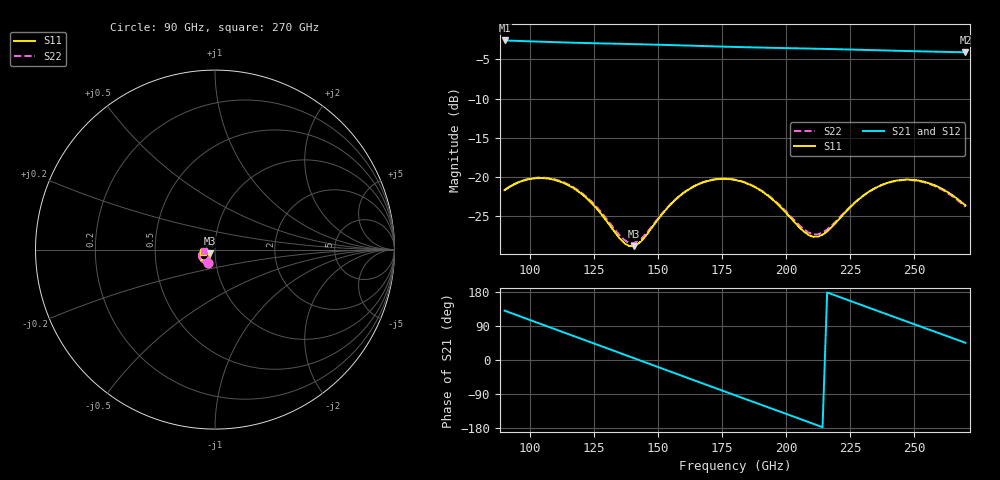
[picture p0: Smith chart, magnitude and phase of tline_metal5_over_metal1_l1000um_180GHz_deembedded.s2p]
! Created with skrf 2.2.0 (http://scikit-rf.org).
# GHz S DB R 50.0
! Port[1] = P1
! Port[2] = P2
!freq dBS11 angS11 dBS21 angS21 dBS12 angS12 dBS22 angS22
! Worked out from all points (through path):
!   101 points, 90 GHz to 270 GHz, reference 50 ohm
!   highest |S21| = -2.57 dB at 90 GHz (marker M1); lowest = -4.1 dB at 270 GHz (marker M2)
!   group delay of S21, straight-line fit = 6.87 ps
!   lowest |S11| = -28.8 dB at 140.4 GHz (marker M3), VSWR 1.08, Z = 47.1 - j1.94 ohm
!   |S11| at or under -10 dB: start of sweep to end of sweep
!   |S22| runs from -28.4 to -20.1 dB; largest |S21 - S12| = 7.4e-14
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90  -21.67 -118.5  -2.57 130.3  -2.57 130.3  -21.64 -117.7
97.2  -20.47 -131.0  -2.66 112.3  -2.66 112.3  -20.42 -130.2
104.4  -20.13 -144.2  -2.74 94.4  -2.74 94.4  -20.07 -143.4
111.6  -20.57 -157.0  -2.81 76.5  -2.81 76.5  -20.49 -156.1
120.6  -22.29 -170.1  -2.89 54.2  -2.89 54.2  -22.15 -169.1
131.4  -26.30 -172.8  -2.98 27.5  -2.98 27.5  -26.00 -171.9
136.8  -28.45 -159.9  -3.02 14.1  -3.02 14.1  -28.04 -159.8
140.4  -28.82 -145.3  -3.04 5.1  -3.04 5.1  -28.43 -146.2
151.2  -24.87 -122.0  -3.13 -21.7  -3.13 -21.7  -24.77 -123.4
165.6  -20.93 -134.8  -3.27 -57.5  -3.27 -57.5  -20.91 -135.4
172.8  -20.28 -145.7  -3.34 -75.3  -3.34 -75.3  -20.25 -146.0
180  -20.37 -156.7  -3.40 -93.0  -3.40 -93.0  -20.33 -156.9
187.2  -21.19 -166.6  -3.46 -110.7  -3.46 -110.7  -21.13 -166.6
194.4  -22.79 -173.6  -3.51 -128.4  -3.51 -128.4  -22.69 -173.5
203.4  -25.81 -171.9  -3.57 -150.6  -3.57 -150.6  -25.59 -171.7
210.6  -27.62 -154.2  -3.62 -168.4  -3.62 -168.4  -27.31 -155.1
216  -26.93 -137.7  -3.66 178.2  -3.66 178.2  -26.69 -139.5
225  -23.85 -128.1  -3.73 156.0  -3.73 156.0  -23.78 -130.0
241.2  -20.58 -142.5  -3.87 116.0  -3.87 116.0  -20.61 -144.0
248.4  -20.34 -152.0  -3.93 98.3  -3.93 98.3  -20.38 -153.5
255.6  -20.76 -161.1  -3.99 80.7  -3.99 80.7  -20.84 -162.5
270  -23.62 -170.5  -4.08 45.4  -4.08 45.4  -23.80 -171.9
